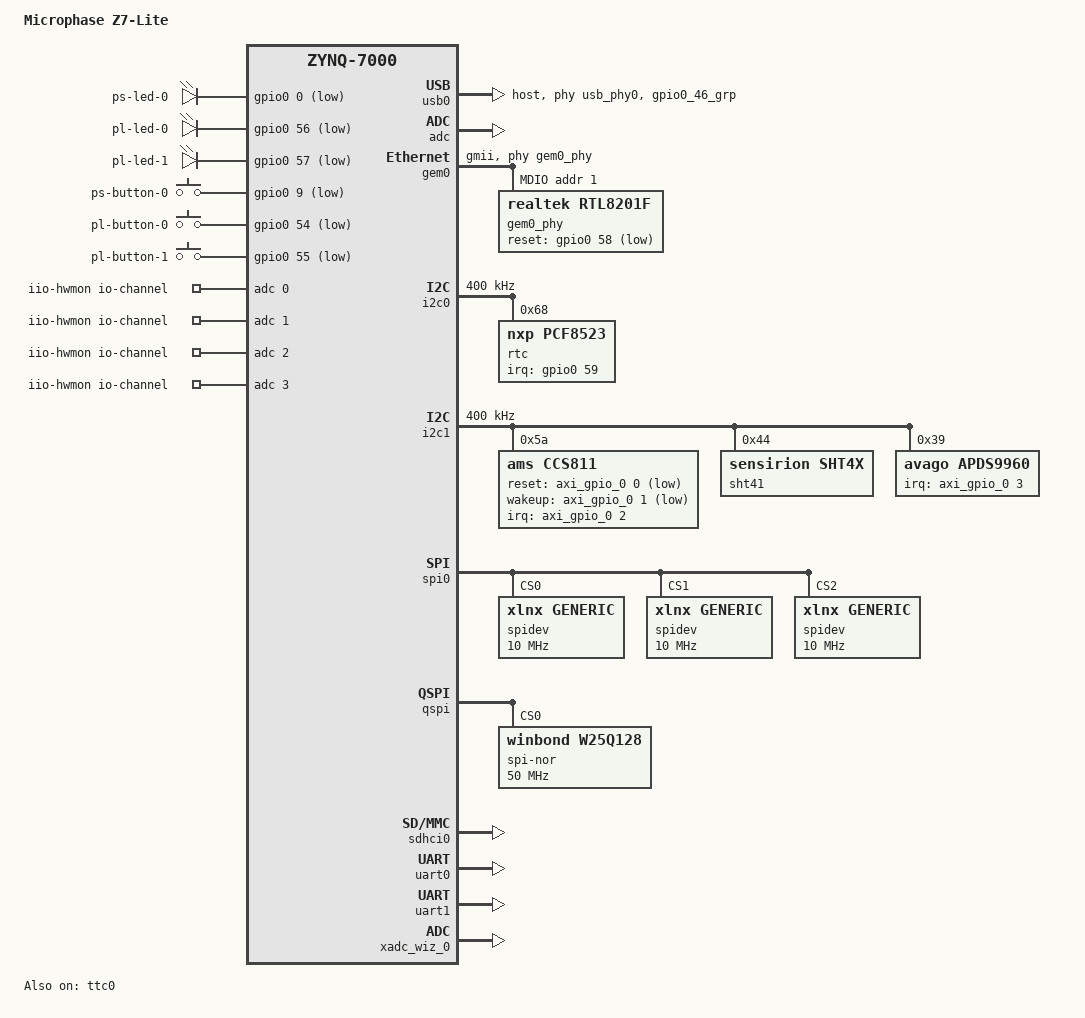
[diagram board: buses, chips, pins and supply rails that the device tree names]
/*
	Author Jacob A. Psimos
*/

#include "include/dt-bindings/gpio/gpio.h"
#include "include/dt-bindings/pinctrl/pinctrl-zynqmp.h"
#include "include/dt-bindings/input/input.h"
#include "include/dt-bindings/interrupt-controller/irq.h"
#include "include/dt-bindings/power/xlnx-zynqmp-power.h"
#include "include/dt-bindings/reset/xlnx-zynqmp-resets.h"

/ {
	model = "Microphase Z7-Lite";
	compatible = "microphase,z7-lite", "xlnx,zynq-7000";
	
	chosen {
		bootargs = "earlycon console=ttyPS0,115200 clk_ignore_unused root=/dev/mmcblk0p2 ro rootwait";
		stdout-path = "serial0:115200n8";
	};
	
	/delete-node/ aliases ;
	aliases {
		ethernet0 = &gem0;
		i2c0 = &i2c0;
		i2c1 = &i2c1;
		serial0 = &uart0;
		serial1 = &uart1;
		spi0 = &qspi;
		spi1 = &spi0;
		gpio0 = &gpio0;
		gpio1 = &axi_gpio_0;
	};

	gpio-leds {
		compatible = "gpio-leds";

		ps-led-0 {
			label = "ps-led-0";
			gpios = <&gpio0 0 GPIO_ACTIVE_LOW>;
			default-state = "off";
		};

		pl-led-0 {
			label = "pl-led-0";
			gpios = <&gpio0 56 GPIO_ACTIVE_LOW>;
			default-state = "off";
		};

		pl-led-1 {
			label = "pl-led-1";
			gpios = <&gpio0 57 GPIO_ACTIVE_LOW>;
			default-state = "off";
		};
	};
	
	gpio-keys {
		compatible = "gpio-keys";
		autorepeat;

		ps-button-0 {
			label = "ps-button-0";
			gpios = <&gpio0 9 GPIO_ACTIVE_LOW>;
			linux,code = <BTN_0>;
			debounce-interval = <70>;
			wakeup-source;
			autorepeat;
		};

		pl-button-0 {
			label = "pl-button-0";
			gpios = <&gpio0 54 GPIO_ACTIVE_LOW>;
			linux,code = <BTN_1>;
			debounce-interval = <70>;
			autorepeat;
		};

		pl-button-1 {
			label = "pl-button-1";
			gpios = <&gpio0 55 GPIO_ACTIVE_LOW>;
			linux,code = <BTN_2>;
			debounce-interval = <70>;
		};
	};
	
	iio-hwmon {
		compatible = "iio-hwmon";
		io-channels = 
			<&adc 0>,           /* temperature (channel 0) */
			<&adc 1>,           /* vccint */
			<&adc 2>,           /* vccaux */
			<&adc 3>;           /* vccbram */
	};
	
	usb_phy0: usb_phy@0 {
		compatible = "ulpi-phy";
		#phy-cells = <0>;
		reg = <0xe0002000 0x1000>;
		view-port = <0x0170>;
		drv-vbus;
	};
};

&pinctrl0 {
	usb_phy0_reset_pin: usb-phy0-reset-pin {
		mux {
			groups = "gpio0_46_grp";
			function = "gpio0";
		};

		conf {
			groups = "gpio0_46_grp";
			slew-rate = <0>;
			io-standard = <3>;
		};
	};
};

&gpio0 {
	status = "okay";
};

&usb0 {
	status = "okay";
	dr_mode = "host";
	usb-phy = <&usb_phy0>;
	pinctrl-names = "default";
	pinctrl-0 = <&usb_phy0_reset_pin>;
};

&adc {
	status = "okay";
	#io-channel-cells = <1>;
};

&gem0 {
	status = "okay";
	phy-mode = "gmii";
	phy-handle = <&gem0_phy>;
	local-mac-address = [d8 cb 3a 39 d5 24];

	mdio {
		#address-cells = <1>;
		#size-cells = <0>;
		
		gem0_phy: ethernet-phy@1 {
			compatible = "realtek,rtl8201f", "realtek,rtl8201", "ethernet-phy-ieee802.3-c22";
			device_type = "ethernet-phy";
			reg = <1>;
			reset-gpios = <&gpio0 58 GPIO_ACTIVE_LOW>;
            reset-assert-us = <10000>;
            reset-deassert-us = <30000>;
			max-speed = <100>;
		};
	};
};

&i2c0 {
	status = "okay";
	clock-frequency = <400000>;

	rtc@68 {
		compatible = "nxp,pcf8523";
		reg = <0x68>;
		interrupt-parent = <&gpio0>;
		interrupts = <59 IRQ_TYPE_LEVEL_LOW>;
		wakeup-source;
	};
};

&i2c1 {
	status = "okay";
	clock-frequency = <400000>;
	
	ccs811@5a {
		compatible = "ams,ccs811";
		reg = <0x5a>;
		reset-gpios = <&axi_gpio_0 0 GPIO_ACTIVE_LOW>;
		wakeup-gpios = <&axi_gpio_0 1 GPIO_ACTIVE_LOW>;
		interrupt-parent = <&axi_gpio_0>;
		interrupts = <2 IRQ_TYPE_LEVEL_LOW>;
	};
	
	sht41@44 {
		compatible = "sensirion,sht4x";
		reg = <0x44>;
	};
	
	apds9960@39 {
		compatible = "avago,apds9960";
		reg = <0x39>;

		interrupt-parent = <&axi_gpio_0>;
		interrupts = <3 IRQ_TYPE_EDGE_RISING>;
	};
};

&spi0 {
	status = "okay";
	is-decoded-cs = <0>;
	num-cs = <3>;
	
	spidev@0 {
		compatible = "xlnx,generic";
		reg = <0>;
		spi-max-frequency = <10000000>;
		/* spi-cpol; */
		/* spi-cpha; */
	};
	
	spidev@1 {
		compatible = "xlnx,generic";
		reg = <1>;
		spi-max-frequency = <10000000>;
		/* spi-cpol; */
		/* spi-cpha; */
	};
	
	spidev@2 {
		compatible = "xlnx,generic";
		reg = <2>;
		spi-max-frequency = <10000000>;
		/* spi-cpol; */
		/* spi-cpha; */
	};
};

&qspi {
	status = "okay";
	is-dual = <0>;
	num-cs = <1>;
	
	spi-nor@0 {
		compatible = "winbond,w25q128", "jedec,spi-nor";
		reg = <0>;
		spi-max-frequency = <50000000>;
		spi-tx-bus-width = <4>;
		spi-rx-bus-width = <4>;
		#address-cells = <1>;
		#size-cells = <1>;
	};
};

&sdhci0 {
	status = "okay";
	max-frequency = <50000000>;
	disable-wp;
	no-1-8-v;
};

&uart0 {
	status = "okay";
};

&uart1 {
	status = "okay";
};

&xadc_wiz_0 {
    status = "okay";
};

&axi_gpio_0 {
	status = "okay";
};

&ttc0 {
	status = "okay";
	#pwm-cells = <3>;
};
